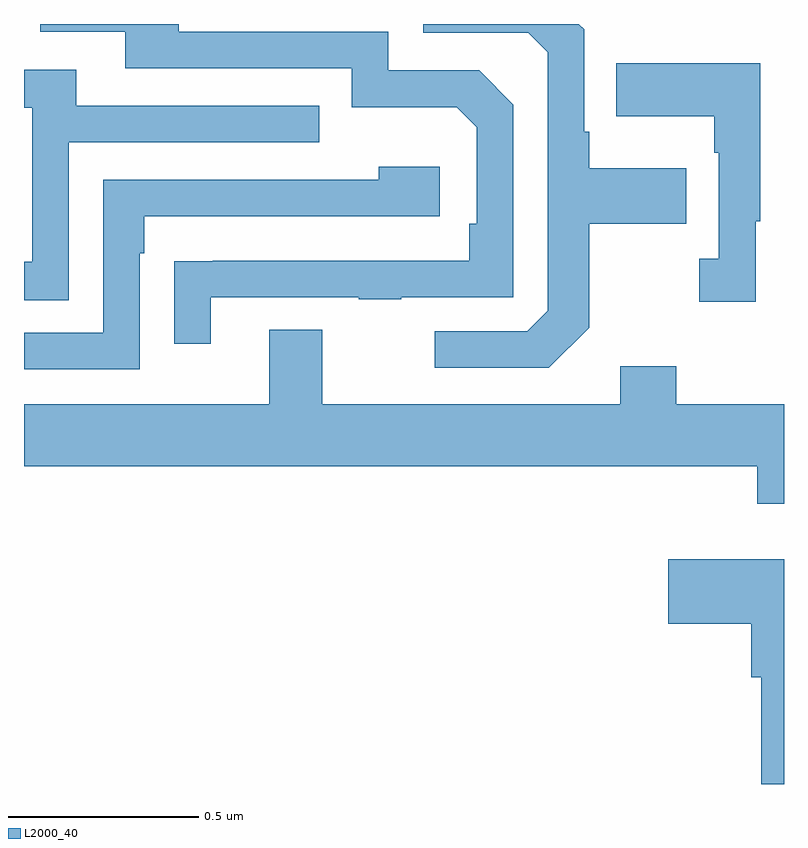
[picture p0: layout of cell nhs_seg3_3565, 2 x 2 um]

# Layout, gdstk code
import gdstk
lib = gdstk.Library(unit=1e-6, precision=1e-09)
def P(c, l, *ps):  # polygons
    for p in ps: c.add(gdstk.Polygon(p, *l))
L2000_40 = (2000, 40)

nhs_seg3_3565 = lib.new_cell('nhs_seg3_3565')
P(nhs_seg3_3565, L2000_40, [(155.491,714.681),(155.881,714.681),(155.881,714.676),(155.993,714.676),(155.993,714.681),(156.288,714.681),(156.288,715.188),(156.198,715.278),(155.958,715.278),(155.958,715.38),(155.407,715.38),(155.407,715.4),(155.043,715.4),(155.043,715.38),(155.267,715.38),(155.267,715.284),(155.862,715.284),(155.862,715.181),(156.139,715.181),(156.192,715.128),(156.192,714.874),(156.172,714.874),(156.172,714.777),(155.497,714.777),(155.497,714.776),(155.395,714.776),(155.395,714.558),(155.491,714.558)],
  [(156.487,714.601),(156.487,714.874),(156.743,714.874),(156.743,715.021),(156.487,715.021),(156.487,715.117),(156.474,715.117),(156.474,715.386),(156.46,715.4),(156.051,715.4),(156.051,715.377),(156.327,715.377),(156.378,715.326),(156.378,714.645),(156.324,714.591),(156.081,714.591),(156.081,714.495),(156.381,714.495)],
  [(156.925,714.881),(156.937,714.881),(156.937,715.297),(156.559,715.297),(156.559,715.157),(156.816,715.157),(156.816,715.061),(156.828,715.061),(156.828,714.782),(156.777,714.782),(156.777,714.669),(156.925,714.669)],
  [(155.118,715.089),(155.777,715.089),(155.777,715.185),(155.137,715.185),(155.137,715.279),(155,715.279),(155,715.179),(155.022,715.179),(155.022,714.774),(155,714.774),(155,714.673),(155.118,714.673)],
  [(155.304,714.797),(155.317,714.797),(155.317,714.894),(156.094,714.894),(156.094,715.024),(155.933,715.024),(155.933,714.99),(155.208,714.99),(155.208,714.588),(155,714.588),(155,714.492),(155.304,714.492)],
  [(157,714.4),(156.717,714.4),(156.717,714.499),(156.569,714.499),(156.569,714.4),(155.785,714.4),(155.785,714.595),(155.645,714.595),(155.645,714.4),(155,714.4),(155,714.236),(156.929,714.236),(156.929,714.137),(157,714.137)],
  [(157,713.992),(156.696,713.992),(156.696,713.822),(156.914,713.822),(156.914,713.681),(156.94,713.681),(156.94,713.4),(157,713.4)])

lib.write_gds('nhs_seg3_3565.gds')
